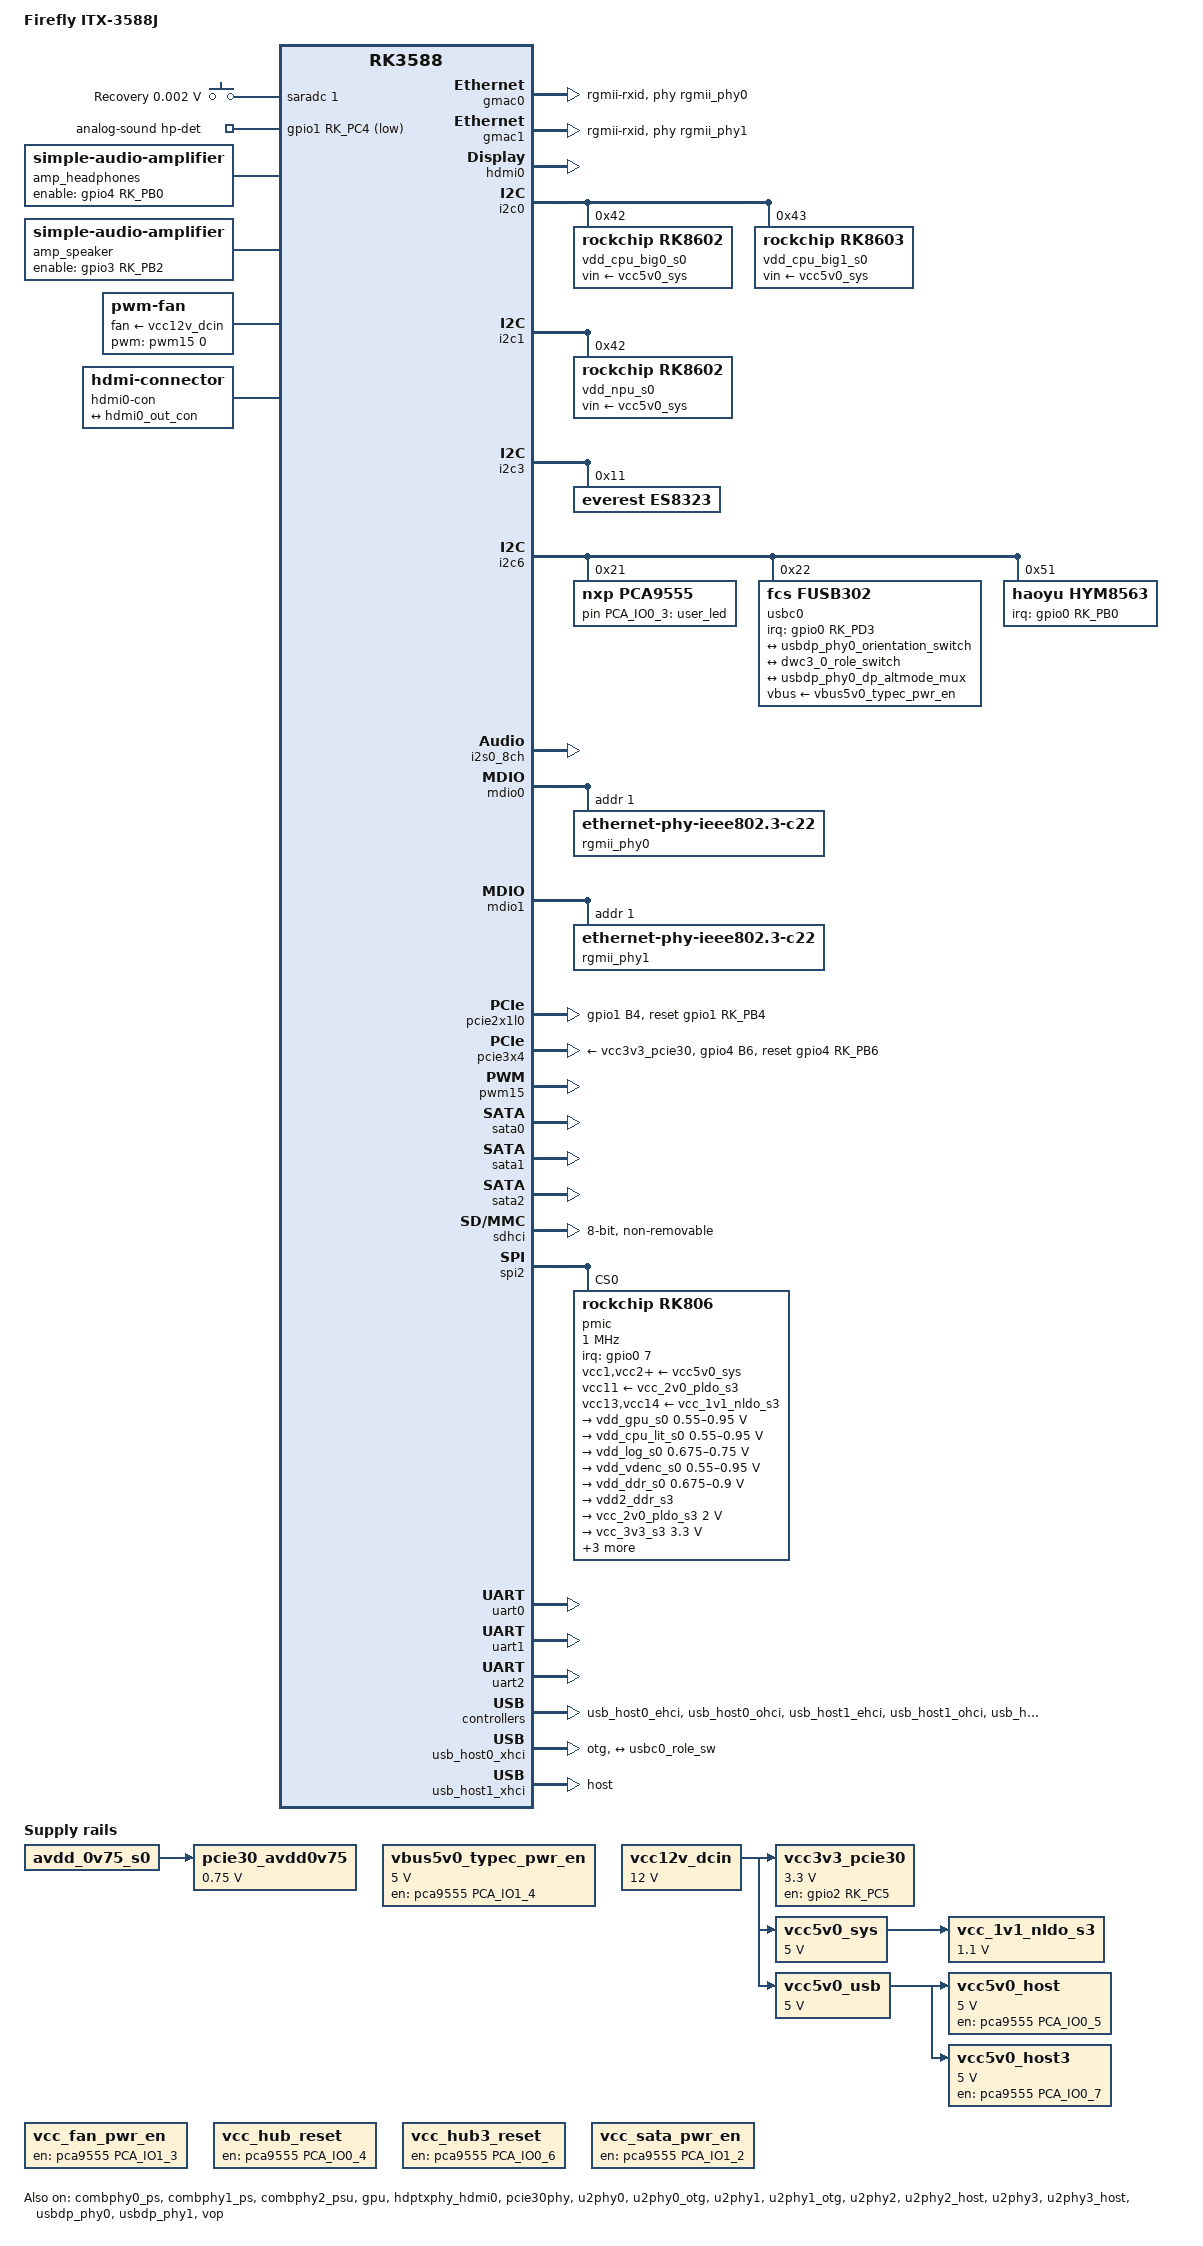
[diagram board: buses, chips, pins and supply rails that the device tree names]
// SPDX-License-Identifier: (GPL-2.0+ OR MIT)

/dts-v1/;

#include <dt-bindings/gpio/gpio.h>
#include <dt-bindings/input/input.h>
#include <dt-bindings/leds/common.h>
#include <dt-bindings/pinctrl/rockchip.h>
#include <dt-bindings/pwm/pwm.h>
#include <dt-bindings/soc/rockchip,vop2.h>
#include "dt-bindings/usb/pd.h"
#include "rockchip-pca9555.h"
#include "rk3588.dtsi"

/ {
	model = "Firefly ITX-3588J";
	compatible = "firefly,itx-3588j", "rockchip,rk3588";

	aliases {
		ethernet0 = &gmac0;
		ethernet1 = &gmac1;
		mmc0 = &sdhci;
	};

	chosen {
		stdout-path = "serial2:1500000n8";
	};

	/* NB: There are also a "Reset" and "Mask ROM" button but I don't
	 * know the right settings for these. - Shimrra Shai
	 */
	adc-keys-1 {
		compatible = "adc-keys";
		io-channels = <&saradc 1>;
		io-channel-names = "buttons";
		keyup-threshold-microvolt = <1800000>;
		poll-interval = <100>;

		button-recovery {
			label = "Recovery";
			linux,code = <KEY_VENDOR>;
			press-threshold-microvolt = <2000>;
		};
	};

	analog-sound {
		compatible = "simple-audio-card";
		pinctrl-0 = <&hp_detect>;
		pinctrl-names = "default";
		simple-audio-card,aux-devs = <&amp_headphones>, <&amp_speaker>;
		simple-audio-card,format = "i2s";
		simple-audio-card,hp-det-gpios = <&gpio1 RK_PC4 GPIO_ACTIVE_LOW>;
		simple-audio-card,mclk-fs = <384>;
		simple-audio-card,name = "rockchip_es8323";
		simple-audio-card,pin-switches = "Headphones", "Speaker";
		simple-audio-card,routing =
			"Speaker Amplifier INL", "LOUT2",
			"Speaker Amplifier INR", "ROUT2",
			"Speaker", "Speaker Amplifier OUTL",
			"Speaker", "Speaker Amplifier OUTR",
			"Headphones Amplifier INL", "LOUT1",
			"Headphones Amplifier INR", "ROUT1",
			"Headphones", "Headphones Amplifier OUTL",
			"Headphones", "Headphones Amplifier OUTR",
			"LINPUT1", "Microphone Jack",
			"RINPUT1", "Microphone Jack",
			"LINPUT2", "Onboard Microphone",
			"RINPUT2", "Onboard Microphone";
		simple-audio-card,widgets =
			"Microphone", "Microphone Jack",
			"Microphone", "Onboard Microphone",
			"Headphone", "Headphones",
			"Speaker", "Speaker";

		simple-audio-card,cpu {
			sound-dai = <&i2s0_8ch>;
		};

		simple-audio-card,codec {
			sound-dai = <&es8323>;
			system-clock-frequency = <12288000>;
		};
	};

	/* note: this does not seem to be a proper "amplifier" but is just
	 * a way to control the GPIO pins to switch on or off the given
	 * sound output device
	 */
	amp_headphones: headphones-audio-amplifier {
		compatible = "simple-audio-amplifier";
		enable-gpios = <&gpio4 RK_PB0 GPIO_ACTIVE_HIGH>;
		pinctrl-names = "default";
		pinctrl-0 = <&headphone_amplifier_en>;
		sound-name-prefix = "Headphones Amplifier";
	};

	amp_speaker: speaker-audio-amplifier {
		compatible = "simple-audio-amplifier";
		enable-gpios = <&gpio3 RK_PB2 GPIO_ACTIVE_HIGH>;
		pinctrl-names = "default";
		pinctrl-0 = <&speaker_amplifier_en>;
		sound-name-prefix = "Speaker Amplifier";
	};

	fan: pwm-fan {
		compatible = "pwm-fan";
		#cooling-cells = <2>;
		cooling-levels = <0 120 150 180 210 240 255>;
		fan-supply = <&vcc12v_dcin>;
		pwms = <&pwm15 0 50000 1>;
	};

	hdmi0-con {
		compatible = "hdmi-connector";
		type = "a";

		port {
			hdmi0_con_in: endpoint {
				remote-endpoint = <&hdmi0_out_con>;
			};
		};
	};

	leds {
		compatible = "gpio-leds";

		/* NB: This Power LED control does not seem to work for
		 * some reason. - Shimrra Shai
		 */
#if 0
		power_led: led-0 {
			gpios = <&gpio1 RK_PB3 GPIO_ACTIVE_HIGH>;
			linux,default-trigger = "default-on";
		};
#endif

		user_led: led-1 {
			gpios = <&pca9555 PCA_IO0_3 GPIO_ACTIVE_HIGH>;
			linux,default-trigger = "disk-activity";
		};
	};

	pcie30_avdd0v75: pcie30-avdd0v75 {
		compatible = "regulator-fixed";
		regulator-name = "pcie30_avdd0v75";
		regulator-boot-on;
		regulator-always-on;
		regulator-min-microvolt = <750000>;
		regulator-max-microvolt = <750000>;
		vin-supply = <&avdd_0v75_s0>;
	};

	vbus5v0_typec_pwr_en: vbus5v0-typec-pwr-en-regulator {
		compatible = "regulator-fixed";
		regulator-name = "vbus5v0_typec_pwr_en";
		regulator-min-microvolt = <5000000>;
		regulator-max-microvolt = <5000000>;
		enable-active-high;
		gpio = <&pca9555 PCA_IO1_4 GPIO_ACTIVE_HIGH>;  //PCA_IO 14
	};

	vcc12v_dcin: vcc12v-dcin-regulator {
		compatible = "regulator-fixed";
		regulator-name = "vcc12v_dcin";
		regulator-always-on;
		regulator-boot-on;
		regulator-min-microvolt = <12000000>;
		regulator-max-microvolt = <12000000>;
	};

	vcc3v3_pcie30: vcc3v3-pcie30-regulator {
		compatible = "regulator-fixed";
		regulator-name = "vcc3v3_pcie30";
		regulator-min-microvolt = <3300000>;
		regulator-max-microvolt = <3300000>;
		enable-active-high;
		pinctrl-names = "default";
		pinctrl-0 = <&pcie3_vcc3v3_en>;
		gpios = <&gpio2 RK_PC5 GPIO_ACTIVE_HIGH>;
		startup-delay-us = <5000>;
		vin-supply = <&vcc12v_dcin>;
		status = "okay";
	};

	vcc5v0_host: vcc5v0-host-regulator {
		compatible = "regulator-fixed";
		enable-active-high;
		status = "okay";
		gpio = <&pca9555 PCA_IO0_5 GPIO_ACTIVE_HIGH>;
		regulator-name = "vcc5v0_host";
		regulator-min-microvolt = <5000000>;
		regulator-max-microvolt = <5000000>;
		regulator-boot-on;
		regulator-always-on;
		vin-supply = <&vcc5v0_usb>;
	};

	vcc5v0_host3: vcc5v0-host3-regulator {
		compatible = "regulator-fixed";
		regulator-name = "vcc5v0_host3";
		regulator-boot-on;
		regulator-always-on;
		regulator-min-microvolt = <5000000>;
		regulator-max-microvolt = <5000000>;
		enable-active-high;
		gpio = <&pca9555 PCA_IO0_7 GPIO_ACTIVE_HIGH>;  //PCA_IO 07
		vin-supply = <&vcc5v0_usb>;
	};

	vcc5v0_sys: vcc5v0-sys-regulator {
		compatible = "regulator-fixed";
		regulator-name = "vcc5v0_sys";
		regulator-always-on;
		regulator-boot-on;
		regulator-min-microvolt = <5000000>;
		regulator-max-microvolt = <5000000>;
		vin-supply = <&vcc12v_dcin>;
	};

	vcc5v0_usb: vcc5v0-usb-regulator {
		compatible = "regulator-fixed";
		regulator-name = "vcc5v0_usb";
		regulator-always-on;
		regulator-boot-on;
		regulator-min-microvolt = <5000000>;
		regulator-max-microvolt = <5000000>;
		vin-supply = <&vcc12v_dcin>;
	};

	vcc_1v1_nldo_s3: vcc-1v1-nldo-s3-regulator {
		compatible = "regulator-fixed";
		regulator-name = "vcc_1v1_nldo_s3";
		regulator-always-on;
		regulator-boot-on;
		regulator-min-microvolt = <1100000>;
		regulator-max-microvolt = <1100000>;
		vin-supply = <&vcc5v0_sys>;
	};

	vcc_fan_pwr_en: vcc-fan-pwr-en-regulator {
		compatible = "regulator-fixed";
		regulator-name = "vcc_fan_pwr_en";
		regulator-boot-on;
		regulator-always-on;
		enable-active-high;
		gpio = <&pca9555 PCA_IO1_3 GPIO_ACTIVE_HIGH>;  //PCA_IO 13
	};

	vcc_hub_reset: vcc-hub-reset-regulator {
		compatible = "regulator-fixed";
		regulator-name = "vcc_hub_reset";
		regulator-boot-on;
		regulator-always-on;
		enable-active-high;
		gpio = <&pca9555 PCA_IO0_4 GPIO_ACTIVE_HIGH>;  //PCA_IO 04
	};

	vcc_hub3_reset: vcc-hub3-reset-regulator {
		compatible = "regulator-fixed";
		regulator-name = "vcc_hub3_reset";
		regulator-always-on;
		enable-active-high;
		gpio = <&pca9555 PCA_IO0_6 GPIO_ACTIVE_HIGH>;  //PCA_IO 06
	};

	vcc_sata_pwr_en: vcc-sata-pwr-en-regulator {
		compatible = "regulator-fixed";
		regulator-name = "vcc_sata_pwr_en";
		regulator-boot-on;
		regulator-always-on;
		enable-active-high;
		gpio = <&pca9555 PCA_IO1_2 GPIO_ACTIVE_HIGH>;  //PCA_IO 12
	};
};

&combphy0_ps {
	status = "okay";
};

&combphy1_ps {
	status = "okay";
};

&combphy2_psu {
	status = "okay";
};

&cpu_b0 {
	cpu-supply = <&vdd_cpu_big0_s0>;
	mem-supply = <&vdd_cpu_big0_mem_s0>;
};

&cpu_b1 {
	cpu-supply = <&vdd_cpu_big0_s0>;
};

&cpu_b2 {
	cpu-supply = <&vdd_cpu_big1_s0>;
	mem-supply = <&vdd_cpu_big1_mem_s0>;
};

&cpu_b3 {
	cpu-supply = <&vdd_cpu_big1_s0>;
};

&cpu_l0 {
	cpu-supply = <&vdd_cpu_lit_s0>;
	mem-supply = <&vdd_cpu_lit_mem_s0>;
};

&cpu_l1 {
	cpu-supply = <&vdd_cpu_lit_s0>;
};

&cpu_l2 {
	cpu-supply = <&vdd_cpu_lit_s0>;
};

&cpu_l3 {
	cpu-supply = <&vdd_cpu_lit_s0>;
};

&display_subsystem {
	clocks = <&hdptxphy_hdmi0>;
	clock-names = "hdmi0_phy_pll";
};

&gmac0 {
	clock_in_out = "output";
	phy-handle = <&rgmii_phy0>;
	phy-mode = "rgmii-rxid";
	pinctrl-names = "default";
	pinctrl-0 = <&gmac0_miim
		     &gmac0_tx_bus2
		     &gmac0_rx_bus2
		     &gmac0_rgmii_clk
		     &gmac0_rgmii_bus>;
	tx_delay = <0x45>;
	rx_delay = <0x4a>;
	status = "okay";
};

&gmac1 {
	clock_in_out = "output";
	phy-handle = <&rgmii_phy1>;
	phy-mode = "rgmii-rxid";
	pinctrl-names = "default";
	pinctrl-0 = <&gmac1_miim
		     &gmac1_tx_bus2
		     &gmac1_rx_bus2
		     &gmac1_rgmii_clk
		     &gmac1_rgmii_bus>;
	tx_delay = <0x42>;
	rx_delay = <0x4f>;
	status = "okay";
};

&gpu {
	mali-supply = <&vdd_gpu_s0>;
	sram-supply = <&vdd_gpu_mem_s0>;
	status = "okay";
};

&hdmi0 {
	status = "okay";
};

&hdmi0_in {
	hdmi0_in_vp0: endpoint {
		remote-endpoint = <&vp0_out_hdmi0>;
	};
};

&hdmi0_out {
	hdmi0_out_con: endpoint {
		remote-endpoint = <&hdmi0_con_in>;
	};
};

&hdptxphy_hdmi0 {
	status = "okay";
};

&i2c0 {
	pinctrl-names = "default";
	pinctrl-0 = <&i2c0m2_xfer>;
	status = "okay";

	vdd_cpu_big0_s0: vdd_cpu_big0_mem_s0: regulator@42 {
		compatible = "rockchip,rk8602";
		reg = <0x42>;
		fcs,suspend-voltage-selector = <1>;
		regulator-name = "vdd_cpu_big0_s0";
		regulator-always-on;
		regulator-boot-on;
		regulator-min-microvolt = <550000>;
		regulator-max-microvolt = <1050000>;
		regulator-ramp-delay = <2300>;
		vin-supply = <&vcc5v0_sys>;

		regulator-state-mem {
			regulator-off-in-suspend;
		};
	};

	vdd_cpu_big1_s0: vdd_cpu_big1_mem_s0: regulator@43 {
		compatible = "rockchip,rk8603", "rockchip,rk8602";
		reg = <0x43>;
		fcs,suspend-voltage-selector = <1>;
		regulator-name = "vdd_cpu_big1_s0";
		regulator-always-on;
		regulator-boot-on;
		regulator-min-microvolt = <550000>;
		regulator-max-microvolt = <1050000>;
		regulator-ramp-delay = <2300>;
		vin-supply = <&vcc5v0_sys>;

		regulator-state-mem {
			regulator-off-in-suspend;
		};
	};
};

&i2c1 {
	pinctrl-names = "default";
	pinctrl-0 = <&i2c1m2_xfer>;
	status = "okay";

	vdd_npu_s0: vdd_npu_mem_s0: regulator@42 {
		compatible = "rockchip,rk8602";
		reg = <0x42>;
		fcs,suspend-voltage-selector = <1>;
		regulator-name = "vdd_npu_s0";
		regulator-always-on;
		regulator-boot-on;
		regulator-min-microvolt = <550000>;
		regulator-max-microvolt = <950000>;
		regulator-ramp-delay = <2300>;
		vin-supply = <&vcc5v0_sys>;

		regulator-state-mem {
			regulator-off-in-suspend;
		};
	};
};

&i2c3 {
	status = "okay";

	/* note: in the Firefly BSP source this was confusingly called an
	 * "ES8388" - it actually seems to be an ES8323 and the drivers
	 * for that work best
	 */
	es8323: audio-codec@11 {
		compatible = "everest,es8323";
		reg = <0x11>;
		assigned-clocks = <&cru I2S0_8CH_MCLKOUT>;
		assigned-clock-rates = <12288000>;
		clocks = <&cru I2S0_8CH_MCLKOUT>;
		clock-names = "mclk";
		#sound-dai-cells = <0>;
	};
};

&i2c6 {
	pinctrl-names = "default";
	pinctrl-0 = <&i2c6m0_xfer>;
	status = "okay";

	pca9555: gpio@21 {
		compatible = "nxp,pca9555";
		reg = <0x21>;
		gpio-controller;
		#gpio-cells = <2>;
	};

	usbc0: usb-typec@22 {
		compatible = "fcs,fusb302";
		reg = <0x22>;
		interrupt-parent = <&gpio0>;
		interrupts = <RK_PD3 IRQ_TYPE_LEVEL_LOW>;
		pinctrl-names = "default";
		pinctrl-0 = <&usbc0_int>;
		vbus-supply = <&vbus5v0_typec_pwr_en>;
		status = "okay";

		usb_con: connector {
			compatible = "usb-c-connector";
			label = "USB-C";
			data-role = "dual";
			op-sink-microwatt = <1000000>;
			power-role = "dual";
			sink-pdos =
				<PDO_FIXED(5000, 1000, PDO_FIXED_USB_COMM)>;
			source-pdos =
				<PDO_FIXED(5000, 3000, PDO_FIXED_USB_COMM)>;
			try-power-role = "source";

			ports {
				#address-cells = <1>;
				#size-cells = <0>;

				port@0 {
					reg = <0>;

					usbc0_orien_sw: endpoint {
						remote-endpoint = <&usbdp_phy0_orientation_switch>;
					};
				};

				port@1 {
					reg = <1>;

					usbc0_role_sw: endpoint {
						remote-endpoint = <&dwc3_0_role_switch>;
					};
				};

				port@2 {
					reg = <2>;

					dp_altmode_mux: endpoint {
						remote-endpoint = <&usbdp_phy0_dp_altmode_mux>;
					};
				};
			};
		};
	};

	hym8563: rtc@51 {
		compatible = "haoyu,hym8563";
		reg = <0x51>;
		#clock-cells = <0>;
		clock-output-names = "hym8563";
		pinctrl-names = "default";
		pinctrl-0 = <&hym8563_int>;
		interrupt-parent = <&gpio0>;
		interrupts = <RK_PB0 IRQ_TYPE_LEVEL_LOW>;
		wakeup-source;
	};
};

&i2s0_8ch {
	pinctrl-names = "default";
	pinctrl-0 = <&i2s0_lrck
		     &i2s0_mclk
		     &i2s0_sclk
		     &i2s0_sdi0
		     &i2s0_sdo0>;
	status = "okay";
};

&mdio0 {
	rgmii_phy0: ethernet-phy@1 {
		compatible = "ethernet-phy-ieee802.3-c22";
		reg = <0x1>;
	};
};

&mdio1 {
	rgmii_phy1: ethernet-phy@1 {
		compatible = "ethernet-phy-ieee802.3-c22";
		reg = <0x1>;
	};
};

&pcie2x1l0 {
	pinctrl-names = "default";
	pinctrl-0 = <&pcie2_0_rst>;
	reset-gpios = <&gpio1 RK_PB4 GPIO_ACTIVE_HIGH>;
	rockchip,skip-scan-in-resume;
	status = "okay";
};

&pcie30phy {
	status = "okay";
};

&pcie3x4 {
	pinctrl-names = "default";
	pinctrl-0 = <&pcie3_rst>;
	reset-gpios = <&gpio4 RK_PB6 GPIO_ACTIVE_HIGH>;
	vpcie3v3-supply = <&vcc3v3_pcie30>;
	status = "okay";
};

&pinctrl {
	dp {
		dp1_hpd: dp1-hpd {
			 rockchip,pins = <1 RK_PA4 RK_FUNC_GPIO &pcfg_pull_none>;
		};
	};

	hym8563 {
		hym8563_int: hym8563-int {
			rockchip,pins = <0 RK_PB0 RK_FUNC_GPIO &pcfg_pull_up>;
		};
	};

	gpio-leds {
		sys_led_pin: sys-led-pin {
			rockchip,pins =
				<1 RK_PB3 RK_FUNC_GPIO &pcfg_pull_none>;
		};
	};

	pcie2 {
		pcie2_0_rst: pcie2-0-rst {
			rockchip,pins = <1 RK_PB4 RK_FUNC_GPIO &pcfg_pull_none>;
		};
	};

	pcie3 {
		pcie3_rst: pcie3-rst {
			rockchip,pins = <4 RK_PB6 RK_FUNC_GPIO &pcfg_pull_none>;
		};

		pcie3_vcc3v3_en: pcie3-vcc3v3-en {
			rockchip,pins = <2 RK_PC5 RK_FUNC_GPIO &pcfg_pull_none>;
		};
	};

	sound {
		hp_detect: hp-detect {
			rockchip,pins = <1 RK_PC4 RK_FUNC_GPIO &pcfg_pull_none>;
		};

		headphone_amplifier_en: headphone-amplifier-en {
			rockchip,pins = <4 RK_PB0 RK_FUNC_GPIO &pcfg_pull_none>;
		};

		speaker_amplifier_en: speaker-amplifier-en {
			rockchip,pins = <3 RK_PB2 RK_FUNC_GPIO &pcfg_pull_none>;
		};
	};

	usb {
		usbc0_int: usbc0-int {
			rockchip,pins = <0 RK_PD3 RK_FUNC_GPIO &pcfg_pull_up>;
		};
	};
};

&pwm15 {
	pinctrl-names = "default";
	pinctrl-0 = <&pwm15m2_pins>;
	status = "okay";
};

&sata0 {
	status = "okay";
};

&sata1 {
	status = "okay";
};

&sata2 {
	status = "okay";
};

&sdhci {
	bus-width = <8>;
	no-sdio;
	no-sd;
	non-removable;
	mmc-hs400-1_8v;
	mmc-hs400-enhanced-strobe;
	status = "okay";
};

&spi2 {
	status = "okay";
	assigned-clocks = <&cru CLK_SPI2>;
	assigned-clock-rates = <200000000>;
	pinctrl-names = "default";
	pinctrl-0 = <&spi2m2_cs0 &spi2m2_pins>;
	num-cs = <1>;

	pmic@0 {
		compatible = "rockchip,rk806";
		spi-max-frequency = <1000000>;
		reg = <0x0>;

		interrupt-parent = <&gpio0>;
		interrupts = <7 IRQ_TYPE_LEVEL_LOW>;

		pinctrl-names = "default", "pmic-power-off";
		pinctrl-0 = <&pmic_pins>, <&rk806_dvs1_null>,
			    <&rk806_dvs2_null>, <&rk806_dvs3_null>;
		pinctrl-1 = <&rk806_dvs1_pwrdn>;

		system-power-controller;

		vcc1-supply = <&vcc5v0_sys>;
		vcc2-supply = <&vcc5v0_sys>;
		vcc3-supply = <&vcc5v0_sys>;
		vcc4-supply = <&vcc5v0_sys>;
		vcc5-supply = <&vcc5v0_sys>;
		vcc6-supply = <&vcc5v0_sys>;
		vcc7-supply = <&vcc5v0_sys>;
		vcc8-supply = <&vcc5v0_sys>;
		vcc9-supply = <&vcc5v0_sys>;
		vcc10-supply = <&vcc5v0_sys>;
		vcc11-supply = <&vcc_2v0_pldo_s3>;
		vcc12-supply = <&vcc5v0_sys>;
		vcc13-supply = <&vcc_1v1_nldo_s3>;
		vcc14-supply = <&vcc_1v1_nldo_s3>;
		vcca-supply = <&vcc5v0_sys>;

		gpio-controller;
		#gpio-cells = <2>;

		rk806_dvs1_null: dvs1-null-pins {
			pins = "gpio_pwrctrl1";
			function = "pin_fun0";
		};

		rk806_dvs1_pwrdn: rk806_dvs1_pwrdn {
			pins = "gpio_pwrctrl1";
			function = "pin_fun2";
		};

		rk806_dvs2_null: dvs2-null-pins {
			pins = "gpio_pwrctrl2";
			function = "pin_fun0";
		};

		rk806_dvs3_null: dvs3-null-pins {
			pins = "gpio_pwrctrl3";
			function = "pin_fun0";
		};

		regulators {
			vdd_gpu_s0: vdd_gpu_mem_s0: dcdc-reg1 {
				regulator-boot-on;
				regulator-min-microvolt = <550000>;
				regulator-max-microvolt = <950000>;
				regulator-ramp-delay = <12500>;
				regulator-name = "vdd_gpu_s0";
				regulator-enable-ramp-delay = <400>;

				regulator-state-mem {
					regulator-off-in-suspend;
				};
			};

			vdd_cpu_lit_s0: vdd_cpu_lit_mem_s0: dcdc-reg2 {
				regulator-always-on;
				regulator-boot-on;
				regulator-min-microvolt = <550000>;
				regulator-max-microvolt = <950000>;
				regulator-ramp-delay = <12500>;
				regulator-name = "vdd_cpu_lit_s0";

				regulator-state-mem {
					regulator-off-in-suspend;
				};
			};

			vdd_log_s0: dcdc-reg3 {
				regulator-always-on;
				regulator-boot-on;
				regulator-min-microvolt = <675000>;
				regulator-max-microvolt = <750000>;
				regulator-ramp-delay = <12500>;
				regulator-name = "vdd_log_s0";

				regulator-state-mem {
					regulator-on-in-suspend; // for fan when deep sleep
					regulator-suspend-microvolt = <750000>;
				};
			};

			vdd_vdenc_s0: vdd_vdenc_mem_s0: dcdc-reg4 {
				regulator-always-on;
				regulator-boot-on;
				regulator-min-microvolt = <550000>;
				regulator-max-microvolt = <950000>;
				regulator-ramp-delay = <12500>;
				regulator-name = "vdd_vdenc_s0";

				regulator-state-mem {
					regulator-off-in-suspend;
				};
			};

			vdd_ddr_s0: dcdc-reg5 {
				regulator-always-on;
				regulator-boot-on;
				regulator-min-microvolt = <675000>;
				regulator-max-microvolt = <900000>;
				regulator-ramp-delay = <12500>;
				regulator-name = "vdd_ddr_s0";

				regulator-state-mem {
					regulator-off-in-suspend;
					regulator-suspend-microvolt = <850000>;
				};
			};

			vdd2_ddr_s3: dcdc-reg6 {
				regulator-always-on;
				regulator-boot-on;
				regulator-name = "vdd2_ddr_s3";

				regulator-state-mem {
					regulator-on-in-suspend;
				};
			};

			vcc_2v0_pldo_s3: dcdc-reg7 {
				regulator-always-on;
				regulator-boot-on;
				regulator-min-microvolt = <2000000>;
				regulator-max-microvolt = <2000000>;
				regulator-name = "vdd_2v0_pldo_s3";

				regulator-state-mem {
					regulator-on-in-suspend;
					regulator-suspend-microvolt = <2000000>;
				};
			};

			vcc_3v3_s3: dcdc-reg8 {
				regulator-always-on;
				regulator-boot-on;
				regulator-min-microvolt = <3300000>;
				regulator-max-microvolt = <3300000>;
				regulator-name = "vcc_3v3_s3";

				regulator-state-mem {
					regulator-on-in-suspend;
					regulator-suspend-microvolt = <3300000>;
				};
			};

			vddq_ddr_s0: dcdc-reg9 {
				regulator-always-on;
				regulator-boot-on;
				regulator-name = "vddq_ddr_s0";

				regulator-state-mem {
					regulator-off-in-suspend;
				};
			};

			vcc_1v8_s3: dcdc-reg10 {
				regulator-always-on;
				regulator-boot-on;
				regulator-min-microvolt = <1800000>;
				regulator-max-microvolt = <1800000>;
				regulator-name = "vcc_1v8_s3";

				regulator-state-mem {
					regulator-on-in-suspend;
					regulator-suspend-microvolt = <1800000>;
				};
			};

			avcc_1v8_s0: pldo-reg1 {
				regulator-always-on;
				regulator-boot-on;
				regulator-min-microvolt = <1800000>;
				regulator-max-microvolt = <1800000>;
				regulator-name = "avcc_1v8_s0";

				regulator-state-mem {
					regulator-on-in-suspend;
				};
			};

			vcc_1v8_s0: pldo-reg2 {
				regulator-always-on;
				regulator-boot-on;
				regulator-min-microvolt = <1800000>;
				regulator-max-microvolt = <1800000>;
				regulator-name = "vcc_1v8_s0";

				regulator-state-mem {
					regulator-on-in-suspend;
					regulator-suspend-microvolt = <1800000>;
				};
			};

			avdd_1v2_s0: pldo-reg3 {
				regulator-always-on;
				regulator-boot-on;
				regulator-min-microvolt = <1200000>;
				regulator-max-microvolt = <1200000>;
				regulator-name = "avdd_1v2_s0";

				regulator-state-mem {
					regulator-off-in-suspend;
				};
			};

			avcc_3v3_s0: pldo-reg4 {
				regulator-always-on;
				regulator-boot-on;
				regulator-min-microvolt = <3300000>;
				regulator-max-microvolt = <3300000>;
				regulator-name = "avcc_3v3_s0";

				regulator-state-mem {
					regulator-off-in-suspend;
				};
			};

			vccio_sd_s0: pldo-reg5 {
				regulator-always-on;
				regulator-boot-on;
				regulator-min-microvolt = <1800000>;
				regulator-max-microvolt = <3300000>;
				regulator-name = "vccio_sd_s0";

				regulator-state-mem {
					regulator-off-in-suspend;
				};
			};

			pldo6_s3: pldo-reg6 {
				regulator-always-on;
				regulator-boot-on;
				regulator-min-microvolt = <1800000>;
				regulator-max-microvolt = <1800000>;
				regulator-name = "pldo6_s3";

				regulator-state-mem {
					regulator-on-in-suspend;
					regulator-suspend-microvolt = <1800000>;
				};
			};

			vdd_0v75_s3: nldo-reg1 {
				regulator-always-on;
				regulator-boot-on;
				regulator-min-microvolt = <750000>;
				regulator-max-microvolt = <750000>;
				regulator-name = "vdd_0v75_s3";

				regulator-state-mem {
					regulator-on-in-suspend;
					regulator-suspend-microvolt = <750000>;
				};
			};

			avdd_ddr_pll_s0: nldo-reg2 {
				regulator-always-on;
				regulator-boot-on;
				regulator-min-microvolt = <850000>;
				regulator-max-microvolt = <850000>;
				regulator-name = "avdd_ddr_pll_s0";

				regulator-state-mem {
					regulator-off-in-suspend;
					regulator-suspend-microvolt = <850000>;
				};
			};

			avdd_0v75_s0: nldo-reg3 {
				regulator-always-on;
				regulator-boot-on;
				regulator-min-microvolt = <750000>;
				regulator-max-microvolt = <750000>;
				regulator-name = "avdd_0v75_s0";

				regulator-state-mem {
					regulator-off-in-suspend;
				};
			};

			avdd_0v85_s0: nldo-reg4 {
				regulator-always-on;
				regulator-boot-on;
				regulator-min-microvolt = <850000>;
				regulator-max-microvolt = <850000>;
				regulator-name = "avdd_0v85_s0";

				regulator-state-mem {
					regulator-off-in-suspend;
				};
			};

			vdd_0v75_s0: nldo-reg5 {
				regulator-always-on;
				regulator-boot-on;
				regulator-min-microvolt = <750000>;
				regulator-max-microvolt = <750000>;
				regulator-name = "vdd_0v75_s0";

				regulator-state-mem {
					regulator-off-in-suspend;
				};
			};
		};
	};
};

/* uart/232/485 */
&uart0 {
	pinctrl-0 = <&uart0m2_xfer>;
	status = "okay";
};

&uart1 {
	pinctrl-0 = <&uart1m1_xfer>;
	status = "okay";
};

/* rk3588 preferred debug out */
&uart2 {
	pinctrl-0 = <&uart2m0_xfer>;
	status = "okay";
};

&u2phy0 {
	status = "okay";
};

&u2phy0_otg {
	status = "okay";
};

&u2phy1 {
	status = "okay";
};

&u2phy1_otg {
	phy-supply = <&vcc5v0_host>;
	status = "okay";
};

&u2phy2 {
	status = "okay";
};

&u2phy2_host {
	phy-supply = <&vcc5v0_host>;
	status = "okay";
};

&u2phy3 {
	status = "okay";
};

&u2phy3_host {
	phy-supply = <&vcc5v0_host>;
	status = "okay";
};

&usb_host0_ehci {
	status = "okay";
};

&usb_host0_ohci {
	status = "okay";
};

&usb_host1_ehci {
	status = "okay";
};

&usb_host1_ohci {
	status = "okay";
};

&usb_host0_xhci {
	usb-role-switch;
	dr_mode = "otg";
	status = "okay";

	port {
		#address-cells = <1>;
		#size-cells = <0>;

		dwc3_0_role_switch: endpoint@0 {
			reg = <0>;
			remote-endpoint = <&usbc0_role_sw>;
		};
	};
};

&usb_host1_xhci {
	dr_mode = "host";
	status = "okay";
};

&usb_host2_xhci {
	status = "okay";
};

&usbdp_phy0 {
	orientation-switch;
	sbu1-dc-gpios = <&gpio4 RK_PA6 GPIO_ACTIVE_HIGH>;
	sbu2-dc-gpios = <&gpio4 RK_PA7 GPIO_ACTIVE_HIGH>;
	status = "okay";

	port {
		#address-cells = <1>;
		#size-cells = <0>;

		usbdp_phy0_orientation_switch: endpoint@0 {
			reg = <0>;
			remote-endpoint = <&usbc0_orien_sw>;
		};

		usbdp_phy0_dp_altmode_mux: endpoint@1 {
			reg = <1>;
			remote-endpoint = <&dp_altmode_mux>;
		};
	};
};

&usbdp_phy1 {
	rockchip,dp-lane-mux = <2 3>;
	status = "okay";
};

&vop_mmu {
	status = "okay";
};

&vop {
	status = "okay";
};

&vp0 {
	vp0_out_hdmi0: endpoint@ROCKCHIP_VOP2_EP_HDMI0 {
		reg = <ROCKCHIP_VOP2_EP_HDMI0>;
		remote-endpoint = <&hdmi0_in_vp0>;
	};
};
